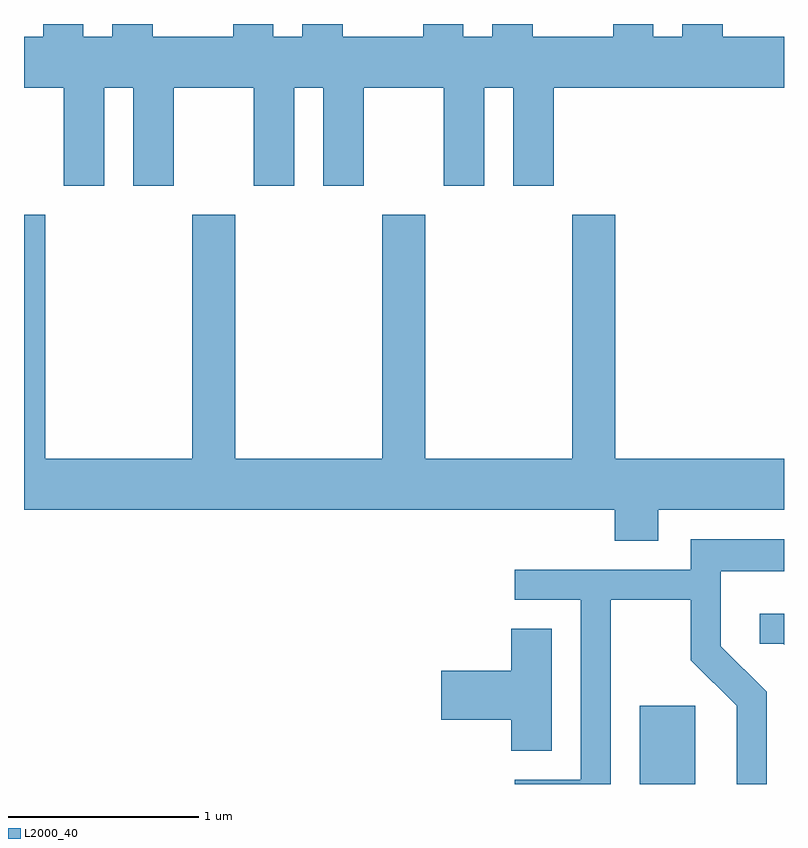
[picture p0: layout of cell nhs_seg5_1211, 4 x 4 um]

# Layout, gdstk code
import gdstk
lib = gdstk.Library(unit=1e-6, precision=1e-09)
def R(c, l, rs):  # rectangles x0, y0, x1, y1
    for r in rs: c.add(gdstk.rectangle(r[:2], r[2:], *l))
def P(c, l, *ps):  # polygons
    for p in ps: c.add(gdstk.Polygon(p, *l))
L2000_40 = (2000, 40)

nhs_seg5_1211 = lib.new_cell('nhs_seg5_1211')
R(nhs_seg5_1211, L2000_40, [(224.851,1402.072,225.144,1402.484)])
P(nhs_seg5_1211, L2000_40, [(222.034,1405.736),(222.186,1405.736),(222.186,1405.221),(222.399,1405.221),(222.399,1405.736),(222.821,1405.736),(222.821,1405.221),(223.034,1405.221),(223.034,1405.736),(223.186,1405.736),(223.186,1405.221),(223.399,1405.221),(223.399,1405.736),(223.821,1405.736),(223.821,1405.221),(224.034,1405.221),(224.034,1405.736),(224.186,1405.736),(224.186,1405.221),(224.399,1405.221),(224.399,1405.736),(225.611,1405.736),(225.611,1406.004),(225.289,1406.004),(225.289,1406.072),(225.076,1406.072),(225.076,1406.004),(224.924,1406.004),(224.924,1406.072),(224.711,1406.072),(224.711,1406.004),(224.289,1406.004),(224.289,1406.072),(224.076,1406.072),(224.076,1406.004),(223.924,1406.004),(223.924,1406.072),(223.711,1406.072),(223.711,1406.004),(223.289,1406.004),(223.289,1406.072),(223.076,1406.072),(223.076,1406.004),(222.924,1406.004),(222.924,1406.072),(222.711,1406.072),(222.711,1406.004),(222.289,1406.004),(222.289,1406.072),(222.076,1406.072),(222.076,1406.004),(221.924,1406.004),(221.924,1406.072),(221.711,1406.072),(221.711,1406.004),(221.611,1406.004),(221.611,1405.736),(221.821,1405.736),(221.821,1405.221),(222.034,1405.221)],
  [(224.949,1403.516),(225.611,1403.516),(225.611,1403.784),(224.724,1403.784),(224.724,1405.069),(224.496,1405.069),(224.496,1403.784),(223.724,1403.784),(223.724,1405.069),(223.496,1405.069),(223.496,1403.784),(222.724,1403.784),(222.724,1405.069),(222.496,1405.069),(222.496,1403.784),(221.724,1403.784),(221.724,1405.069),(221.611,1405.069),(221.611,1403.516),(224.721,1403.516),(224.721,1403.351),(224.949,1403.351)],
  [(224.699,1403.041),(225.121,1403.041),(225.121,1402.724),(225.361,1402.484),(225.361,1402.072),(225.519,1402.072),(225.519,1402.557),(225.279,1402.797),(225.279,1403.191),(225.611,1403.191),(225.611,1403.359),(225.121,1403.359),(225.121,1403.199),(224.193,1403.199),(224.193,1403.041),(224.541,1403.041),(224.541,1402.094),(224.193,1402.094),(224.193,1402.072),(224.699,1402.072)],
  [(225.611,1402.969),(225.483,1402.969),(225.483,1402.811),(225.604,1402.811),(225.611,1402.804)],
  [(224.389,1402.889),(224.176,1402.889),(224.176,1402.669),(223.806,1402.669),(223.806,1402.411),(224.176,1402.411),(224.176,1402.246),(224.389,1402.246)])

lib.write_gds('nhs_seg5_1211.gds')
